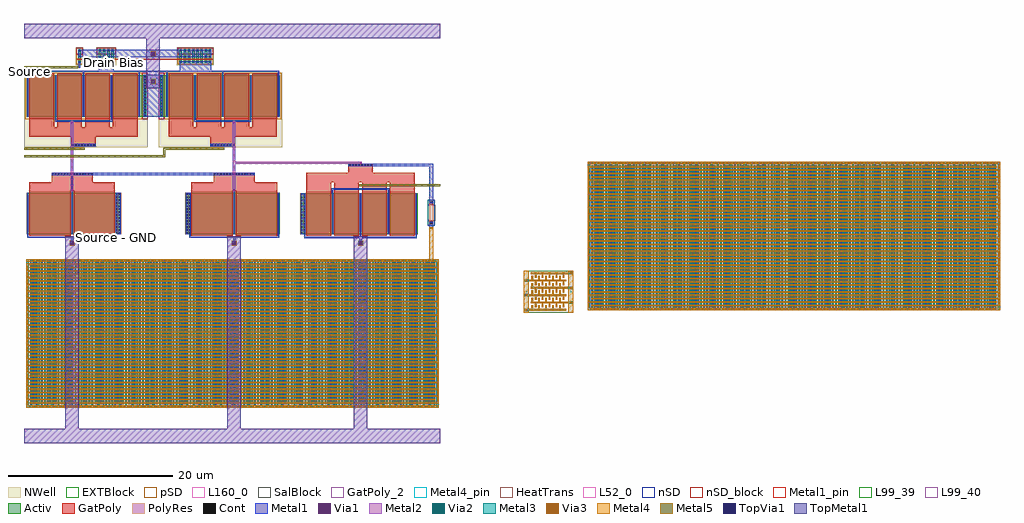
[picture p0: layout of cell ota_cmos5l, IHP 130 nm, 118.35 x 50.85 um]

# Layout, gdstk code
from math import pi, radians
import gdstk
lib = gdstk.Library(unit=1e-6, precision=1e-09)
def R(c, l, rs):  # rectangles x0, y0, x1, y1
    for r in rs: c.add(gdstk.rectangle(r[:2], r[2:], *l))
def A(c, l, x, y, w, h, nx, ny, dx, dy):  # array of equal rectangles
    R(c, l, [(x+i*dx, y+j*dy, x+i*dx+w, y+j*dy+h) for i in range(nx) for j in range(ny)])
Activ = (1, 0)
GatPoly = (5, 0)
GatPoly_2 = (5, 2)
Cont = (6, 0)
nSD = (7, 0)
nSD_block = (7, 21)
Metal1 = (8, 0)
Metal1_pin = (8, 2)
Metal2 = (10, 0)
pSD = (14, 0)
Via1 = (19, 0)
SalBlock = (28, 0)
Via2 = (29, 0)
Metal3 = (30, 0)
NWell = (31, 0)
Via3 = (49, 0)
Metal4 = (50, 0)
Metal4_pin = (50, 2)
HeatTrans = (51, 0)
L52_0 = (52, 0)
Metal5 = (67, 0)
L99_39 = (99, 39)
L99_40 = (99, 40)
EXTBlock = (111, 0)
TopVia1 = (125, 0)
TopMetal1 = (126, 0)
PolyRes = (128, 0)
L160_0 = (160, 0)

nmos_3 = lib.new_cell('nmos$3')
A(nmos_3, Activ, 0, 0, 0.3, 0.3, 5, 1, 3.38, 0)
R(nmos_3, Activ, [(0,0,13.82,5)])
A(nmos_3, GatPoly, 0.34, -0.18, 3, 5.36, 4, 1, 3.38, 0)
R(nmos_3, GatPoly_2, [(0.34,-0.18,3.34,5.18)])
A(nmos_3, Cont, 0.07, 0.07, 0.16, 0.16, 5, 4, 3.38, 0.36)
A(nmos_3, Cont, 0.07, 1.515, 0.16, 0.16, 5, 3, 3.38, 0.36)
A(nmos_3, Cont, 0.07, 2.6, 0.16, 0.16, 5, 3, 3.38, 0.36)
A(nmos_3, Cont, 0.07, 3.685, 0.16, 0.16, 5, 3, 3.38, 0.36)
A(nmos_3, Cont, 0.07, 4.77, 0.16, 0.16, 5, 1, 3.38, 0)
A(nmos_3, Metal1, 0.07, 0, 0.16, 5, 5, 1, 3.38, 0)
R(nmos_3, Metal1_pin, [(0.07,0,0.23,5), (3.45,0,3.61,5)])
A(nmos_3, HeatTrans, 0.34, -0.18, 3, 5.36, 4, 1, 3.38, 0)
nmos_3.add(gdstk.Label('nmos', (1.84,2.5), layer=63, texttype=0))
nmos_3.add(gdstk.Label('nmos', (1.84,2.5), layer=51, texttype=0))
nmos_3.add(gdstk.Label('nmos', (5.22,2.5), layer=51, texttype=0))
nmos_3.add(gdstk.Label('nmos', (8.6,2.5), layer=51, texttype=0))
nmos_3.add(gdstk.Label('nmos', (11.98,2.5), layer=51, texttype=0))

rhigh = lib.new_cell('rhigh')
R(rhigh, GatPoly, [(0,-0.43,0.5,0), (0,1.95,0.5,2.38)])
R(rhigh, Cont, [(0.07,-0.36,0.43,-0.2), (0.07,2.15,0.43,2.31)])
R(rhigh, nSD, [(-0.18,-0.61,0.68,0.18), (-0.18,0,0.68,1.95), (-0.18,0,0.68,1.95), (-0.18,1.77,0.68,2.56)])
R(rhigh, Metal1, [(0.02,-0.41,0.48,-0.15), (0.02,2.1,0.48,2.36)])
R(rhigh, Metal1_pin, [(0.02,-0.41,0.48,-0.15), (0.02,2.1,0.48,2.36)])
R(rhigh, pSD, [(-0.18,-0.61,0.68,0.18), (-0.18,0,0.68,1.95), (-0.18,0,0.68,1.95), (-0.18,1.77,0.68,2.56)])
R(rhigh, SalBlock, [(-0.2,0,0.7,1.95)])
R(rhigh, L52_0, [(0,0,0.5,1.95)])
R(rhigh, EXTBlock, [(-0.18,-0.61,0.68,0.18), (-0.2,0,0.7,1.95), (-0.18,1.77,0.68,2.56)])
R(rhigh, PolyRes, [(0,0,0.5,1.95)])
rhigh.add(gdstk.Label('rhigh r=6085.217', (0.25,0.975), layer=63, texttype=0))
rhigh.add(gdstk.Label('rhigh', (0.25,0.975), layer=52, texttype=0))

pmos_2 = lib.new_cell('pmos$2')
R(pmos_2, Activ, [(0,0,0.3,0.3), (0.59,0,0.89,0.3), (0,0.075,0.89,0.225)])
R(pmos_2, GatPoly, [(0.37,-0.105,0.52,0.405), (0.37,-0.105,0.52,0.405)])
R(pmos_2, Cont, [(0.07,0.07,0.23,0.23), (0.66,0.07,0.82,0.23)])
R(pmos_2, Metal1, [(0.07,0.02,0.23,0.28), (0.07,0.02,0.23,0.28), (0.66,0.02,0.82,0.28), (0.66,0.02,0.82,0.28)])
R(pmos_2, pSD, [(-0.18,-0.225,1.07,0.525)])
R(pmos_2, NWell, [(-0.31,-0.31,1.2,0.61)])
R(pmos_2, HeatTrans, [(0.37,-0.105,0.52,0.405)])
pmos_2.add(gdstk.Label('pmos', (0.445,0.15), layer=63, texttype=0))
pmos_2.add(gdstk.Label('pmos', (0.445,0.15), layer=51, texttype=0))

pmos = lib.new_cell('pmos')
R(pmos, Activ, [(0,0,0.3,0.3), (0.59,0,0.89,0.3), (0,0.075,0.89,0.225)])
R(pmos, GatPoly, [(0.37,-0.105,0.52,0.405), (0.37,-0.105,0.52,0.405)])
R(pmos, Cont, [(0.07,0.07,0.23,0.23), (0.66,0.07,0.82,0.23)])
R(pmos, Metal1, [(0.07,0.02,0.23,0.28), (0.07,0.02,0.23,0.28), (0.66,0.02,0.82,0.28), (0.66,0.02,0.82,0.28)])
R(pmos, pSD, [(-0.18,-0.225,1.07,0.525)])
R(pmos, NWell, [(-0.31,-0.31,1.2,0.61)])
R(pmos, HeatTrans, [(0.37,-0.105,0.52,0.405)])
pmos.add(gdstk.Label('pmos', (0.445,0.15), layer=63, texttype=0))
pmos.add(gdstk.Label('pmos', (0.445,0.15), layer=51, texttype=0))

cap_mfringe = lib.new_cell('cap_mfringe')
A(cap_mfringe, Metal1, 0.44, 0, 0.16, 17.61, 73, 1, 0.68, 0)
A(cap_mfringe, Metal1, 0.78, 0.39, 0.16, 17.61, 72, 1, 0.68, 0)
R(cap_mfringe, Metal1, [(0,0,0.26,18), (0,0,49.56,0.21), (49.74,0,50,18), (0.44,17.79,50,18)])
A(cap_mfringe, Metal2, 0.42, 0.495, 49.58, 0.2, 1, 21, 0, 0.82)
A(cap_mfringe, Metal2, 0, 0.905, 49.58, 0.2, 1, 21, 0, 0.82)
R(cap_mfringe, Metal2, [(0,0,50,0.285), (0,0,0.205,17.505), (49.795,0.495,50,18), (0,17.715,50,18)])
A(cap_mfringe, Via1, 0.715, 0.01, 0.19, 0.19, 119, 1, 0.41, 0)
A(cap_mfringe, Via1, 0.01, 0.605, 0.19, 0.19, 1, 41, 0, 0.41)
A(cap_mfringe, Via1, 49.8, 0.805, 0.19, 0.19, 1, 41, 0, 0.41)
A(cap_mfringe, Via1, 0.815, 17.8, 0.19, 0.19, 119, 1, 0.41, 0)
A(cap_mfringe, Via2, 0.715, 0.005, 0.19, 0.19, 119, 1, 0.41, 0)
A(cap_mfringe, Via2, 0.005, 0.605, 0.19, 0.19, 1, 41, 0, 0.41)
A(cap_mfringe, Via2, 49.805, 0.805, 0.19, 0.19, 1, 41, 0, 0.41)
A(cap_mfringe, Via2, 0.815, 17.805, 0.19, 0.19, 119, 1, 0.41, 0)
A(cap_mfringe, Metal3, 0.505, 0, 0.2, 17.59, 60, 1, 0.82, 0)
A(cap_mfringe, Metal3, 0.915, 0.41, 0.2, 17.59, 60, 1, 0.82, 0)
R(cap_mfringe, Metal3, [(0,0,0.295,18), (0,0,49.495,0.2), (49.705,0,50,18), (0.505,17.8,50,18)])
A(cap_mfringe, Via3, 0.715, 0.005, 0.19, 0.19, 119, 1, 0.41, 0)
A(cap_mfringe, Via3, 0.005, 0.605, 0.19, 0.19, 1, 41, 0, 0.41)
A(cap_mfringe, Via3, 49.805, 0.805, 0.19, 0.19, 1, 41, 0, 0.41)
A(cap_mfringe, Via3, 0.815, 17.805, 0.19, 0.19, 119, 1, 0.41, 0)
A(cap_mfringe, Metal4, 0.41, 0.495, 49.59, 0.2, 1, 21, 0, 0.82)
A(cap_mfringe, Metal4, 0, 0.905, 49.59, 0.2, 1, 21, 0, 0.82)
R(cap_mfringe, Metal4, [(0,0,50,0.285), (0,0,0.2,17.505), (49.8,0.495,50,18), (0,17.715,50,18)])
R(cap_mfringe, Metal4_pin, [(0,8.9,0.2,9.1), (24.9,17.8,25.1,18)])
R(cap_mfringe, L99_39, [(0,0,50,18)])
cap_mfringe.add(gdstk.Label('cap_mfringe C=2088.000fF', (0,-0.5), layer=63, texttype=0))

via_stack = lib.new_cell('via_stack')
R(via_stack, Metal1, [(-0.145,-0.105,0.145,0.105)])
R(via_stack, Metal2, [(-0.145,-0.1,0.145,0.1)])
R(via_stack, Via1, [(-0.095,-0.095,0.095,0.095)])
R(via_stack, Via2, [(-0.095,-0.095,0.095,0.095)])
R(via_stack, Metal3, [(-0.145,-0.1,0.145,0.1)])
R(via_stack, Via3, [(-0.095,-0.095,0.095,0.095)])
R(via_stack, Metal4, [(-0.31,-0.31,0.31,0.31)])
R(via_stack, TopVia1, [(-0.21,-0.21,0.21,0.21)])
R(via_stack, TopMetal1, [(-0.82,-0.82,0.82,0.82)])

nmos = lib.new_cell('nmos')
A(nmos, Activ, 0, 0, 0.3, 0.3, 3, 1, 5.38, 0)
R(nmos, Activ, [(0,0,11.06,5)])
R(nmos, GatPoly, [(0.34,-0.18,5.34,5.18), (5.72,-0.18,10.72,5.18)])
R(nmos, GatPoly_2, [(0.34,-0.18,5.34,5.18)])
A(nmos, Cont, 0.07, 0.07, 0.16, 0.16, 3, 4, 5.38, 0.36)
A(nmos, Cont, 0.07, 1.515, 0.16, 0.16, 3, 3, 5.38, 0.36)
A(nmos, Cont, 0.07, 2.6, 0.16, 0.16, 3, 3, 5.38, 0.36)
A(nmos, Cont, 0.07, 3.685, 0.16, 0.16, 3, 3, 5.38, 0.36)
A(nmos, Cont, 0.07, 4.77, 0.16, 0.16, 3, 1, 5.38, 0)
A(nmos, Metal1, 0.07, 0, 0.16, 5, 3, 1, 5.38, 0)
R(nmos, Metal1_pin, [(0.07,0,0.23,5), (5.45,0,5.61,5)])
R(nmos, HeatTrans, [(0.34,-0.18,5.34,5.18), (5.72,-0.18,10.72,5.18)])
nmos.add(gdstk.Label('nmos', (2.84,2.5), layer=63, texttype=0))
nmos.add(gdstk.Label('nmos', (2.84,2.5), layer=51, texttype=0))
nmos.add(gdstk.Label('nmos', (8.22,2.5), layer=51, texttype=0))

pmos_4 = lib.new_cell('pmos$4')
A(pmos_4, Activ, 0, 0, 0.3, 0.3, 5, 1, 3.38, 0)
R(pmos_4, Activ, [(0,0,13.82,5)])
A(pmos_4, GatPoly, 0.34, -0.18, 3, 5.36, 4, 1, 3.38, 0)
R(pmos_4, GatPoly, [(0.34,-0.18,3.34,5.18)])
A(pmos_4, Cont, 0.07, 0.07, 0.16, 0.16, 5, 4, 3.38, 0.36)
A(pmos_4, Cont, 0.07, 1.515, 0.16, 0.16, 5, 3, 3.38, 0.36)
A(pmos_4, Cont, 0.07, 2.6, 0.16, 0.16, 5, 3, 3.38, 0.36)
A(pmos_4, Cont, 0.07, 3.685, 0.16, 0.16, 5, 3, 3.38, 0.36)
A(pmos_4, Cont, 0.07, 4.77, 0.16, 0.16, 5, 1, 3.38, 0)
A(pmos_4, Metal1, 3.45, 0, 0.16, 5, 4, 1, 3.38, 0)
R(pmos_4, Metal1, [(0.07,0,0.23,5), (0.07,0,0.23,5), (3.45,0,3.61,5)])
R(pmos_4, pSD, [(-0.18,-0.3,14,5.3)])
R(pmos_4, NWell, [(-0.31,-0.31,14.13,5.31)])
A(pmos_4, HeatTrans, 0.34, -0.18, 3, 5.36, 4, 1, 3.38, 0)
pmos_4.add(gdstk.Label('pmos', (1.84,2.5), layer=63, texttype=0))
pmos_4.add(gdstk.Label('pmos', (1.84,2.5), layer=51, texttype=0))
pmos_4.add(gdstk.Label('pmos', (5.22,2.5), layer=51, texttype=0))
pmos_4.add(gdstk.Label('pmos', (8.6,2.5), layer=51, texttype=0))
pmos_4.add(gdstk.Label('pmos', (11.98,2.5), layer=51, texttype=0))

via_stack_2 = lib.new_cell('via_stack$2')

via_stack_4 = lib.new_cell('via_stack$4')
R(via_stack_4, Metal1, [(-0.145,-0.105,0.145,0.105)])
R(via_stack_4, Metal2, [(-0.145,-0.1,0.145,0.1)])
R(via_stack_4, Via1, [(-0.095,-0.095,0.095,0.095)])

via_stack_6 = lib.new_cell('via_stack$6')
R(via_stack_6, Metal1, [(-0.145,-0.105,0.145,0.105)])
R(via_stack_6, Metal2, [(-0.145,-0.1,0.145,0.1)])
R(via_stack_6, Via1, [(-0.095,-0.095,0.095,0.095)])
R(via_stack_6, Via2, [(-0.095,-0.095,0.095,0.095)])
R(via_stack_6, Metal3, [(-0.145,-0.1,0.145,0.1)])
R(via_stack_6, Via3, [(-0.095,-0.095,0.095,0.095)])
R(via_stack_6, Metal4, [(-0.145,-0.1,0.145,0.1)])

cap_cmomf = lib.new_cell('cap_cmomf')
A(cap_cmomf, Metal1, 0.44, 0, 0.16, 17.61, 73, 1, 0.68, 0)
A(cap_cmomf, Metal1, 0.78, 0.39, 0.16, 17.61, 72, 1, 0.68, 0)
R(cap_cmomf, Metal1, [(0,0,0.26,18), (0,0,49.56,0.21), (49.74,0,50,18), (0.44,17.79,50,18)])
A(cap_cmomf, Metal2, 0.42, 0.495, 49.58, 0.2, 1, 21, 0, 0.82)
A(cap_cmomf, Metal2, 0, 0.905, 49.58, 0.2, 1, 21, 0, 0.82)
R(cap_cmomf, Metal2, [(0,0,50,0.285), (0,0,0.205,17.505), (49.795,0.495,50,18), (0,17.715,50,18)])
A(cap_cmomf, Via1, 0.715, 0.01, 0.19, 0.19, 119, 1, 0.41, 0)
A(cap_cmomf, Via1, 0.01, 0.605, 0.19, 0.19, 1, 41, 0, 0.41)
A(cap_cmomf, Via1, 49.8, 0.805, 0.19, 0.19, 1, 41, 0, 0.41)
A(cap_cmomf, Via1, 0.815, 17.8, 0.19, 0.19, 119, 1, 0.41, 0)
A(cap_cmomf, Via2, 0.715, 0.005, 0.19, 0.19, 119, 1, 0.41, 0)
A(cap_cmomf, Via2, 0.005, 0.605, 0.19, 0.19, 1, 41, 0, 0.41)
A(cap_cmomf, Via2, 49.805, 0.805, 0.19, 0.19, 1, 41, 0, 0.41)
A(cap_cmomf, Via2, 0.815, 17.805, 0.19, 0.19, 119, 1, 0.41, 0)
A(cap_cmomf, Metal3, 0.505, 0, 0.2, 17.59, 60, 1, 0.82, 0)
A(cap_cmomf, Metal3, 0.915, 0.41, 0.2, 17.59, 60, 1, 0.82, 0)
R(cap_cmomf, Metal3, [(0,0,0.295,18), (0,0,49.495,0.2), (49.705,0,50,18), (0.505,17.8,50,18)])
A(cap_cmomf, Via3, 0.715, 0.005, 0.19, 0.19, 119, 1, 0.41, 0)
A(cap_cmomf, Via3, 0.005, 0.605, 0.19, 0.19, 1, 41, 0, 0.41)
A(cap_cmomf, Via3, 49.805, 0.805, 0.19, 0.19, 1, 41, 0, 0.41)
A(cap_cmomf, Via3, 0.815, 17.805, 0.19, 0.19, 119, 1, 0.41, 0)
A(cap_cmomf, Metal4, 0.41, 0.495, 49.59, 0.2, 1, 21, 0, 0.82)
A(cap_cmomf, Metal4, 0, 0.905, 49.59, 0.2, 1, 21, 0, 0.82)
R(cap_cmomf, Metal4, [(0,0,50,0.285), (0,0,0.2,17.505), (49.8,0.495,50,18), (0,17.715,50,18)])
R(cap_cmomf, Metal4_pin, [(0,8.65,0.2,8.85), (24.9,17.8,25.1,18)])
R(cap_cmomf, L99_40, [(0,0,50,18)])
R(cap_cmomf, L160_0, [(0,0,50,18)])
cap_cmomf.add(gdstk.Label('cap_cmomf C=1158.300fF', (0,-0.5), layer=63, texttype=0))

cap_cmomi = lib.new_cell('cap_cmomi')
A(cap_cmomi, Metal1, -2.855, -2.38, 0.31, 0.31, 1, 3, 0, 1.78)
A(cap_cmomi, Metal1, -3, -2.33, 5.15, 0.21, 1, 3, 0, 1.78)
A(cap_cmomi, Metal1, -2.1, -2.225, 0.21, 0.575, 5, 5, 0.84, 0.89)
A(cap_cmomi, Metal1, -1.68, -1.91, 0.21, 0.575, 5, 5, 0.84, 0.89)
A(cap_cmomi, Metal1, 2.545, -1.49, 0.31, 0.31, 1, 3, 0, 1.78)
A(cap_cmomi, Metal1, -2.15, -1.44, 5.15, 0.21, 1, 3, 0, 1.78)
A(cap_cmomi, Metal2, -2.855, -2.38, 0.31, 0.31, 1, 3, 0, 1.78)
A(cap_cmomi, Metal2, -3, -2.33, 5.15, 0.21, 1, 3, 0, 1.78)
A(cap_cmomi, Metal2, -2.1, -2.225, 0.21, 0.575, 5, 5, 0.84, 0.89)
A(cap_cmomi, Metal2, -1.68, -1.91, 0.21, 0.575, 5, 5, 0.84, 0.89)
A(cap_cmomi, Metal2, 2.545, -1.49, 0.31, 0.31, 1, 3, 0, 1.78)
A(cap_cmomi, Metal2, -2.15, -1.44, 5.15, 0.21, 1, 3, 0, 1.78)
A(cap_cmomi, Via1, -2.795, -2.32, 0.19, 0.19, 1, 3, 0, 1.78)
A(cap_cmomi, Via1, -2.09, -2.32, 0.19, 0.19, 5, 2, 0.84, 0.41)
A(cap_cmomi, Via1, -1.67, -1.84, 0.19, 0.19, 5, 5, 0.84, 0.89)
A(cap_cmomi, Via1, -2.09, -1.43, 0.19, 0.19, 10, 4, 0.42, 0.89)
A(cap_cmomi, Via1, 2.605, -1.43, 0.19, 0.19, 1, 3, 0, 1.78)
A(cap_cmomi, Via1, -2.09, -1.02, 0.19, 0.19, 5, 4, 0.84, 0.89)
A(cap_cmomi, Via1, -1.67, 2.13, 0.19, 0.19, 5, 1, 0.84, 0)
A(cap_cmomi, Via2, -2.795, -2.32, 0.19, 0.19, 1, 3, 0, 1.78)
A(cap_cmomi, Via2, -2.09, -2.32, 0.19, 0.19, 5, 2, 0.84, 0.41)
A(cap_cmomi, Via2, -1.67, -1.84, 0.19, 0.19, 5, 5, 0.84, 0.89)
A(cap_cmomi, Via2, -2.09, -1.43, 0.19, 0.19, 10, 4, 0.42, 0.89)
A(cap_cmomi, Via2, 2.605, -1.43, 0.19, 0.19, 1, 3, 0, 1.78)
A(cap_cmomi, Via2, -2.09, -1.02, 0.19, 0.19, 5, 4, 0.84, 0.89)
A(cap_cmomi, Via2, -1.67, 2.13, 0.19, 0.19, 5, 1, 0.84, 0)
A(cap_cmomi, Metal3, -2.855, -2.38, 0.31, 0.31, 1, 3, 0, 1.78)
A(cap_cmomi, Metal3, -3, -2.33, 5.15, 0.21, 1, 3, 0, 1.78)
A(cap_cmomi, Metal3, -2.1, -2.225, 0.21, 0.575, 5, 5, 0.84, 0.89)
A(cap_cmomi, Metal3, -1.68, -1.91, 0.21, 0.575, 5, 5, 0.84, 0.89)
A(cap_cmomi, Metal3, 2.545, -1.49, 0.31, 0.31, 1, 3, 0, 1.78)
A(cap_cmomi, Metal3, -2.15, -1.44, 5.15, 0.21, 1, 3, 0, 1.78)
A(cap_cmomi, Via3, -2.795, -2.32, 0.19, 0.19, 1, 3, 0, 1.78)
A(cap_cmomi, Via3, -2.09, -2.32, 0.19, 0.19, 5, 2, 0.84, 0.41)
A(cap_cmomi, Via3, -1.67, -1.84, 0.19, 0.19, 5, 5, 0.84, 0.89)
A(cap_cmomi, Via3, -2.09, -1.43, 0.19, 0.19, 10, 4, 0.42, 0.89)
A(cap_cmomi, Via3, 2.605, -1.43, 0.19, 0.19, 1, 3, 0, 1.78)
A(cap_cmomi, Via3, -2.09, -1.02, 0.19, 0.19, 5, 4, 0.84, 0.89)
A(cap_cmomi, Via3, -1.67, 2.13, 0.19, 0.19, 5, 1, 0.84, 0)
A(cap_cmomi, Metal4, -3, -2.33, 5.15, 0.21, 1, 3, 0, 1.78)
A(cap_cmomi, Metal4, -2.1, -2.225, 0.21, 0.575, 5, 5, 0.84, 0.89)
A(cap_cmomi, Metal4, -1.68, -1.91, 0.21, 0.575, 5, 5, 0.84, 0.89)
A(cap_cmomi, Metal4, -2.15, -1.44, 5.15, 0.21, 1, 3, 0, 1.78)
R(cap_cmomi, Metal4, [(-3,-2.545,-2.4,2.545), (2.4,-2.545,3,2.545)])
R(cap_cmomi, Metal4_pin, [(-2.8,-0.105,-2.6,0.105), (2.6,-0.105,2.8,0.105)])
R(cap_cmomi, L99_39, [(-3,-2.545,3,2.545)])
R(cap_cmomi, L160_0, [(-3,-2.545,3,2.545)])
cap_cmomi.add(gdstk.Label('C=21.112fF', (0,0), layer=63, texttype=0))
cap_cmomi.add(gdstk.Label('cap_cmomi', (0,0), layer=63, texttype=0))

ota_cmos5l = lib.new_cell('ota_cmos5l')
A(ota_cmos5l, Activ, 14.64, 51.36, 0.3, 0.79, 4, 1, 0.51, 0)
A(ota_cmos5l, Activ, 24.43, 51.36, 0.3, 0.79, 8, 1, 0.51, 0)
R(ota_cmos5l, Activ, [(39.12,29.69,39.48,34.69), (16.95,29.7,17.31,34.7), (25.18,29.7,25.54,34.7), (19.71,43.95,20.39,48.95), (22.1,43.95,22.78,48.95), (12.15,51.36,12.45,52.15)])
A(ota_cmos5l, GatPoly, 39.82, 34.87, 3, 1.13, 4, 1, 3.38, 0)
A(ota_cmos5l, GatPoly, 6.23, 42.64, 3, 1.13, 4, 1, 3.38, 0)
A(ota_cmos5l, GatPoly, 23.11, 42.64, 3, 1.13, 4, 1, 3.38, 0)
R(ota_cmos5l, GatPoly, [(6.23,34.88,11.23,36.01), (11.61,34.88,16.61,36.01), (25.88,34.88,30.88,36.01), (31.26,34.88,36.26,36.01), (8.92,35,13.92,37.14), (28.57,35,33.57,37.14), (39.82,36,52.96,37.13), (44.89,37.13,47.89,38.26), (11.3,40.38,14.3,41.51), (28.18,40.38,31.18,41.51), (6.23,41.51,19.37,42.64), (23.11,41.51,36.25,42.64), (12.555,50.84,14.535,50.99), (16.575,50.84,24.325,50.99)])
A(ota_cmos5l, Cont, 17.08, 29.77, 0.16, 0.16, 1, 4, 0, 0.36)
A(ota_cmos5l, Cont, 39.19, 30.85, 0.16, 0.16, 1, 7, 0, 0.36)
A(ota_cmos5l, Cont, 25.25, 30.86, 0.16, 0.16, 1, 7, 0, 0.36)
A(ota_cmos5l, Cont, 17.08, 31.22, 0.16, 0.16, 1, 7, 0, 0.36)
A(ota_cmos5l, Cont, 39.19, 33.38, 0.16, 0.16, 1, 4, 0, 0.36)
A(ota_cmos5l, Cont, 25.25, 33.39, 0.16, 0.16, 1, 4, 0, 0.36)
A(ota_cmos5l, Cont, 8.99, 36.91, 0.16, 0.16, 11, 1, 0.365, 0)
A(ota_cmos5l, Cont, 12.97, 36.91, 0.16, 0.16, 3, 1, 0.36, 0)
A(ota_cmos5l, Cont, 28.64, 36.91, 0.16, 0.16, 11, 1, 0.365, 0)
A(ota_cmos5l, Cont, 32.62, 36.91, 0.16, 0.16, 3, 1, 0.36, 0)
A(ota_cmos5l, Cont, 45.025, 38.03, 0.16, 0.16, 8, 1, 0.365, 0)
A(ota_cmos5l, Cont, 28.33, 40.45, 0.16, 0.16, 8, 1, 0.365, 0)
A(ota_cmos5l, Cont, 20.16, 44.02, 0.16, 0.16, 1, 4, 0, 0.36)
A(ota_cmos5l, Cont, 22.17, 44.02, 0.16, 0.16, 1, 4, 0, 0.36)
A(ota_cmos5l, Cont, 20.16, 45.47, 0.16, 0.16, 1, 7, 0, 0.36)
A(ota_cmos5l, Cont, 22.17, 45.47, 0.16, 0.16, 1, 7, 0, 0.36)
A(ota_cmos5l, Cont, 14.71, 51.91, 0.16, 0.16, 4, 1, 0.51, 0)
A(ota_cmos5l, Cont, 24.5, 51.91, 0.16, 0.16, 8, 1, 0.51, 0)
R(ota_cmos5l, Cont, [(39.19,29.76,39.35,29.92), (39.19,29.76,39.35,29.92), (25.25,29.77,25.41,29.93), (25.25,29.77,25.41,29.93), (39.19,30.125,39.35,30.285), (39.19,30.125,39.35,30.285), (25.25,30.135,25.41,30.295), (25.25,30.135,25.41,30.295), (39.19,30.48,39.35,30.64), (25.25,30.49,25.41,30.65), (17.08,33.75,17.24,33.91), (17.08,34.105,17.24,34.265), (17.08,34.105,17.24,34.265), (17.08,34.47,17.24,34.63), (17.08,34.47,17.24,34.63), (11.45,40.45,11.61,40.61), (11.45,40.45,11.61,40.61), (11.815,40.45,11.975,40.61), (11.815,40.45,11.975,40.61), (12.18,40.45,12.34,40.61), (12.18,40.45,12.34,40.61), (12.545,40.45,12.705,40.61), (12.545,40.45,12.705,40.61), (12.91,40.45,13.07,40.61), (12.91,40.45,13.07,40.61), (13.275,40.45,13.435,40.61), (13.275,40.45,13.435,40.61), (13.64,40.45,13.8,40.61), (13.64,40.45,13.8,40.61), (14.005,40.45,14.165,40.61), (14.005,40.45,14.165,40.61), (20.16,48,20.32,48.16), (22.17,48,22.33,48.16), (20.16,48.355,20.32,48.515), (20.16,48.355,20.32,48.515), (22.17,48.355,22.33,48.515), (22.17,48.355,22.33,48.515), (20.16,48.72,20.32,48.88), (20.16,48.72,20.32,48.88), (22.17,48.72,22.33,48.88), (22.17,48.72,22.33,48.88), (12.22,51.91,12.38,52.07)])
R(ota_cmos5l, nSD_block, [(19.89,43.65,20.58,49.25), (21.91,43.65,22.6,49.25), (11.925,51.54,12.675,52.31), (14.415,51.54,16.695,52.31), (24.205,51.54,28.525,52.31)])
A(ota_cmos5l, Metal1, 39.55, 29.39, 0.16, 0.3, 3, 1, 6.76, 0)
A(ota_cmos5l, Metal1, 5.96, 48.95, 0.16, 0.43, 3, 1, 6.76, 0)
A(ota_cmos5l, Metal1, 22.85, 48.95, 0.16, 0.43, 3, 1, 6.76, 0)
A(ota_cmos5l, Metal1, 14.66, 51.29, 0.26, 0.78, 4, 1, 0.51, 0)
A(ota_cmos5l, Metal1, 24.45, 51.29, 0.26, 0.78, 8, 1, 0.51, 0)
R(ota_cmos5l, Metal1, [(11.275,28.755,11.565,29.24), (30.925,28.755,31.215,29.24), (46.255,28.755,46.545,29.24), (39.55,29.23,53.23,29.39), (5.96,29.24,16.88,29.4), (25.61,29.24,36.53,29.4), (5.96,29.4,6.12,29.7), (16.72,29.4,16.88,29.7), (25.61,29.4,25.77,29.7), (36.37,29.4,36.53,29.7), (39.12,29.69,39.55,34.69), (16.88,29.7,17.31,34.7), (25.18,29.7,25.61,34.7), (54.74,30.36,54.83,30.57), (55.12,30.36,55.2,30.565), (54.74,30.57,55.2,30.92), (54.74,33.69,55.2,37.96), (42.92,34.69,43.08,35.12), (42.93,34.69,43.09,35.12), (49.68,34.69,49.84,35.12), (49.69,34.69,49.85,35.12), (11.34,34.7,11.5,36.84), (30.99,34.7,31.15,34.92), (42.92,35.12,49.84,35.28), (42.93,35.12,49.85,35.28), (8.92,36.84,13.92,37.14), (13.92,36.84,28.57,37.14), (28.57,36.84,33.57,37.14), (44.89,37.96,47.89,38.26), (47.89,37.96,55.2,38.26), (11.3,40.38,14.3,40.68), (11.3,40.38,14.3,40.68), (28.18,40.38,31.18,40.68), (9.34,43.36,16.26,43.52), (26.23,43.36,33.15,43.52), (9.34,43.52,9.5,43.95), (16.1,43.52,16.26,43.95), (26.23,43.52,26.39,43.95), (32.99,43.52,33.15,43.95), (20.09,43.95,20.39,49.03), (20.39,43.95,22.1,49.03), (22.1,43.95,22.4,49.03), (5.96,49.38,19.64,49.54), (19.64,49.38,22.85,49.54), (22.85,49.38,36.53,49.54), (14.66,49.54,16.45,50.7), (24.45,49.54,28.28,50.54), (12.13,49.86,12.17,50.07), (12.17,49.86,12.43,50.54), (24.71,50.54,28.02,50.7), (12.43,51.13,16.45,52.07), (16.45,51.13,24.45,52.07), (24.45,51.13,28.28,52.07), (12.17,51.29,12.43,52.07)])
R(ota_cmos5l, Metal2, [(11.275,35.125,11.565,43.36), (30.92,35.125,31.215,43.36), (31.215,38.265,46.27,38.465)])
R(ota_cmos5l, pSD, [(39.07,29.69,39.48,34.69), (16.95,29.7,17.36,34.7), (25.13,29.7,25.54,34.7)])
R(ota_cmos5l, NWell, [(5.58,40.26,20.6,43.64), (21.89,40.26,36.91,43.64), (20.02,43.64,20.6,49.26), (21.89,43.64,22.47,49.26), (11.84,51.67,12.76,52.4), (14.33,51.67,16.78,52.4), (24.12,51.67,28.61,52.4)])
R(ota_cmos5l, Metal4, [(54.74,26.66,55.2,30.565)])
R(ota_cmos5l, Metal5, [(46.245,35.485,56.07,35.73), (5.58,39.01,22.465,39.25), (22.465,39.01,22.72,39.93), (5.58,39.93,12.95,40.175), (22.465,39.93,29.835,40.175), (5.58,49.84,12.13,50.085)])
R(ota_cmos5l, TopMetal1, [(5.62,4.36,56.08,6.12), (10.6,6.12,12.24,27.79), (30.25,6.12,31.89,27.79), (45.58,6.12,47.22,27.79), (20.425,49.03,22.065,53.45), (5.62,53.45,56.08,55.21)])
ota_cmos5l.add(gdstk.Reference(nmos_3, (53.3,34.69), rotation=pi))
ota_cmos5l.add(gdstk.Reference(rhigh, (54.72,31.33)))
ota_cmos5l.add(gdstk.Reference(pmos_2, (25.96,51.36), rotation=3*pi/2))
ota_cmos5l.add(gdstk.Reference(pmos, (15.66,51.36), rotation=3*pi/2))
ota_cmos5l.add(gdstk.Reference(pmos, (15.15,51.36), rotation=3*pi/2))
ota_cmos5l.add(gdstk.Reference(pmos, (14.64,51.36), rotation=3*pi/2))
ota_cmos5l.add(gdstk.Reference(pmos_2, (25.45,51.36), rotation=3*pi/2))
ota_cmos5l.add(gdstk.Reference(pmos_2, (24.94,51.36), rotation=3*pi/2))
ota_cmos5l.add(gdstk.Reference(pmos_2, (24.43,51.36), rotation=3*pi/2))
ota_cmos5l.add(gdstk.Reference(pmos_2, (26.98,51.36), rotation=3*pi/2))
ota_cmos5l.add(gdstk.Reference(cap_mfringe, (5.88,8.66)))
ota_cmos5l.add(gdstk.Reference(pmos_2, (27.49,51.36), rotation=3*pi/2))
ota_cmos5l.add(gdstk.Reference(pmos_2, (28,51.36), rotation=3*pi/2))
ota_cmos5l.add(gdstk.Reference(pmos_2, (26.47,51.36), rotation=3*pi/2))
ota_cmos5l.add(gdstk.Reference(pmos_2, (12.15,51.36), rotation=3*pi/2))
ota_cmos5l.add(gdstk.Reference(pmos, (16.17,51.36), rotation=3*pi/2))
ota_cmos5l.add(gdstk.Reference(via_stack, (11.42,28.61)))
ota_cmos5l.add(gdstk.Reference(via_stack, (31.07,28.61)))
ota_cmos5l.add(gdstk.Reference(nmos, (16.95,34.7), rotation=pi))
ota_cmos5l.add(gdstk.Reference(nmos, (36.6,34.7), rotation=pi))
ota_cmos5l.add(gdstk.Reference(pmos_4, (19.71,43.95), rotation=pi, x_reflection=True))
ota_cmos5l.add(gdstk.Reference(via_stack, (21.245,48.21)))
ota_cmos5l.add(gdstk.Reference(via_stack_2, (12.805,40.275)))
ota_cmos5l.add(gdstk.Reference(pmos_4, (36.6,43.95), rotation=pi, x_reflection=True))
ota_cmos5l.add(gdstk.Reference(via_stack_2, (29.69,40.275)))
ota_cmos5l.add(gdstk.Reference(via_stack_4, (31.065,35.025)))
ota_cmos5l.add(gdstk.Reference(via_stack_4, (11.42,35.025)))
ota_cmos5l.add(gdstk.Reference(via_stack_4, (11.42,43.26)))
ota_cmos5l.add(gdstk.Reference(via_stack_4, (31.07,43.255)))
ota_cmos5l.add(gdstk.Reference(via_stack_2, (46.39,35.385), rotation=pi))
ota_cmos5l.add(gdstk.Reference(via_stack_4, (46.415,38.365)))
ota_cmos5l.add(gdstk.Reference(via_stack_6, (54.975,30.465)))
ota_cmos5l.add(gdstk.Reference(via_stack, (21.24,51.57)))
ota_cmos5l.add(gdstk.Reference(via_stack_2, (11.985,49.965)))
ota_cmos5l.add(gdstk.Reference(via_stack, (46.4,28.61)))
ota_cmos5l.add(gdstk.Reference(cap_cmomf, (73.93,20.47)))
ota_cmos5l.add(gdstk.Reference(cap_cmomi, (69.2,22.75)))
ota_cmos5l.add(gdstk.Label('Source', (6.222,49.472), layer=8, texttype=0))
ota_cmos5l.add(gdstk.Label('Drain Bias', (16.435,50.565), layer=8, texttype=0))
ota_cmos5l.add(gdstk.Label('Source - GND', (16.8,29.31), layer=8, texttype=0))

lib.write_gds('ota_cmos5l.gds')
